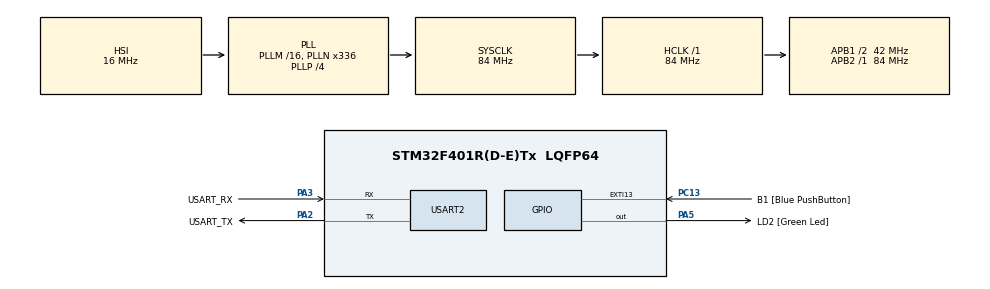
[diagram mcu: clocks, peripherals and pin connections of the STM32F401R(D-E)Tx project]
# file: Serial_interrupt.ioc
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Mcu.Family=STM32F4
Mcu.Name=STM32F401R(D-E)Tx
Mcu.Package=LQFP64
NVIC.PriorityGroup=NVIC_PRIORITYGROUP_4
PA13.GPIO_Label=TMS
PA13.Mode=Trace_Asynchronous_SW
PA13.Signal=SYS_JTMS-SWDIO
PA14.GPIO_Label=TCK
PA14.Mode=Trace_Asynchronous_SW
PA14.Signal=SYS_JTCK-SWCLK
PA2.GPIO_Label=USART_TX
PA2.GPIO_Mode=GPIO_MODE_AF_PP
PA2.GPIO_PuPd=GPIO_NOPULL
PA2.GPIO_Speed=GPIO_SPEED_FREQ_LOW
PA2.Mode=Asynchronous
PA2.Signal=USART2_TX
PA3.GPIO_Label=USART_RX
PA3.GPIO_Mode=GPIO_MODE_AF_PP
PA3.GPIO_PuPd=GPIO_NOPULL
PA3.GPIO_Speed=GPIO_SPEED_FREQ_LOW
PA3.Mode=Asynchronous
PA3.Signal=USART2_RX
PA5.GPIO_Label=LD2 [Green Led]
PA5.GPIO_Mode=GPIO_MODE_OUTPUT_PP
PA5.GPIO_PuPd=GPIO_NOPULL
PA5.GPIO_Speed=GPIO_SPEED_FREQ_LOW
PA5.Signal=GPIO_Output
PB3.GPIO_Label=SWO
PB3.Mode=Trace_Asynchronous_SW
PB3.Signal=SYS_JTDO-SWO
PC13-ANTI_TAMP.GPIO_Label=B1 [Blue PushButton]
PC13-ANTI_TAMP.GPIO_ModeDefaultEXTI=GPIO_MODE_IT_FALLING
PC13-ANTI_TAMP.GPIO_PuPd=GPIO_NOPULL
PC13-ANTI_TAMP.Signal=GPXTI13
PC14-OSC32_IN.Mode=LSE-External-Oscillator
PC14-OSC32_IN.Signal=RCC_OSC32_IN
PC15-OSC32_OUT.Mode=LSE-External-Oscillator
PC15-OSC32_OUT.Signal=RCC_OSC32_OUT
PH0\ -\ OSC_IN.Mode=HSE-External-Clock-Source
PH0\ -\ OSC_IN.Signal=RCC_OSC_IN
PH1\ -\ OSC_OUT.Mode=HSE-External-Clock-Source
PH1\ -\ OSC_OUT.Signal=RCC_OSC_OUT
ProjectManager.HeapSize=0x200
ProjectManager.StackSize=0x400
ProjectManager.TargetToolchain=STM32CubeIDE
RCC.48MHZClocksFreq_Value=48000000
RCC.AHBFreq_Value=84000000
RCC.APB1CLKDivider=RCC_HCLK_DIV2
RCC.APB1Freq_Value=42000000
RCC.APB1TimFreq_Value=84000000
RCC.APB2Freq_Value=84000000
RCC.APB2TimFreq_Value=84000000
RCC.CortexFreq_Value=84000000
RCC.HCLKFreq_Value=84000000
RCC.HSE_VALUE=8000000
RCC.HSI_VALUE=16000000
RCC.PLLN=336
RCC.PLLP=RCC_PLLP_DIV4
RCC.PLLQ=7
RCC.SYSCLKFreq_VALUE=84000000
RCC.SYSCLKSource=RCC_SYSCLKSOURCE_PLLCLK
RCC.VCOOutputFreq_Value=336000000
USART2.VirtualMode=VM_ASYNC
board=NUCLEO-F401RE

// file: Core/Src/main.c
/* USER CODE BEGIN Header */
/**
  ******************************************************************************
  * @file           : main.c
  * @brief          : Main program body
  ******************************************************************************
  * @attention
  *
  * Copyright (c) 2025 STMicroelectronics.
  * All rights reserved.
  *
  * This software is licensed under terms that can be found in the LICENSE file
  * in the root directory of this software component.
  * If no LICENSE file comes with this software, it is provided AS-IS.
  *
  ******************************************************************************
  */
/* USER CODE END Header */
#include "main.h"

/* USER CODE BEGIN Includes */
#include <string.h>
/* USER CODE END Includes */

UART_HandleTypeDef huart2;

void SystemClock_Config(void);
static void MX_GPIO_Init(void);
static void MX_USART2_UART_Init(void);

/* USER CODE BEGIN 0 */
uint8_t rxChar;
char rxBuf[4];       // buffer for up to 3 chars + '\0'
uint8_t idx = 0;     // current index into rxBuf

/* This callback is called by HAL when a byte is received via interrupt */
void HAL_UART_RxCpltCallback(UART_HandleTypeDef *huart)
{
    if (huart->Instance == USART2)
    {
        // 1) Filter out CR/LF and store valid chars
        if (rxChar != '\r' && rxChar != '\n' && idx < (sizeof(rxBuf)-1))
        {
            rxBuf[idx++] = rxChar;
        }
        // 2) If we saw LF, treat as end-of-command
        if (rxChar == '\n')
        {
            rxBuf[idx] = '\0';  // null-terminate
            // 3) Compare and act
            if (strcmp(rxBuf, "ON") == 0)
            {
                HAL_GPIO_WritePin(GPIOA, GPIO_PIN_5, GPIO_PIN_SET);
            }
            else if (strcmp(rxBuf, "OFF") == 0)
            {
                HAL_GPIO_WritePin(GPIOA, GPIO_PIN_5, GPIO_PIN_RESET);
            }
            // 4) Reset buffer for next command
            idx = 0;
            memset(rxBuf, 0, sizeof(rxBuf));
        }
        // 5) Re-arm the UART receive interrupt for next byte
        HAL_UART_Receive_IT(&huart2, &rxChar, 1);
    }
}
/* USER CODE END 0 */

int main(void)
{

  /* MCU Configuration--------------------------------------------------------*/

  /* Reset of all peripherals, Initializes the Flash interface and the Systick. */
  HAL_Init();

  /* Configure the system clock */
  SystemClock_Config();

  /* Initialize all configured peripherals */
  MX_GPIO_Init();
  MX_USART2_UART_Init();
  /* USER CODE BEGIN 2 */
  // Start reception of the first byte in interrupt mode
      HAL_UART_Receive_IT(&huart2, &rxChar, 1);
  /* USER CODE END 2 */

  /* Infinite loop */
  while (1)
  {

  }
}

void SystemClock_Config(void)
{
  RCC_OscInitTypeDef RCC_OscInitStruct = {0};
  RCC_ClkInitTypeDef RCC_ClkInitStruct = {0};

  /** Configure the main internal regulator output voltage
  */
  __HAL_RCC_PWR_CLK_ENABLE();
  __HAL_PWR_VOLTAGESCALING_CONFIG(PWR_REGULATOR_VOLTAGE_SCALE2);

  /** Initializes the RCC Oscillators according to the specified parameters
  * in the RCC_OscInitTypeDef structure.
  */
  RCC_OscInitStruct.OscillatorType = RCC_OSCILLATORTYPE_HSI;
  RCC_OscInitStruct.HSIState = RCC_HSI_ON;
  RCC_OscInitStruct.HSICalibrationValue = RCC_HSICALIBRATION_DEFAULT;
  RCC_OscInitStruct.PLL.PLLState = RCC_PLL_ON;
  RCC_OscInitStruct.PLL.PLLSource = RCC_PLLSOURCE_HSI;
  RCC_OscInitStruct.PLL.PLLM = 16;
  RCC_OscInitStruct.PLL.PLLN = 336;
  RCC_OscInitStruct.PLL.PLLP = RCC_PLLP_DIV4;
  RCC_OscInitStruct.PLL.PLLQ = 7;
  if (HAL_RCC_OscConfig(&RCC_OscInitStruct) != HAL_OK)
  {
    Error_Handler();
  }

  /** Initializes the CPU, AHB and APB buses clocks
  */
  RCC_ClkInitStruct.ClockType = RCC_CLOCKTYPE_HCLK|RCC_CLOCKTYPE_SYSCLK
                              |RCC_CLOCKTYPE_PCLK1|RCC_CLOCKTYPE_PCLK2;
  RCC_ClkInitStruct.SYSCLKSource = RCC_SYSCLKSOURCE_PLLCLK;
  RCC_ClkInitStruct.AHBCLKDivider = RCC_SYSCLK_DIV1;
  RCC_ClkInitStruct.APB1CLKDivider = RCC_HCLK_DIV2;
  RCC_ClkInitStruct.APB2CLKDivider = RCC_HCLK_DIV1;

  if (HAL_RCC_ClockConfig(&RCC_ClkInitStruct, FLASH_LATENCY_2) != HAL_OK)
  {
    Error_Handler();
  }
}

static void MX_USART2_UART_Init(void)
{

  huart2.Instance = USART2;
  huart2.Init.BaudRate = 115200;
  huart2.Init.WordLength = UART_WORDLENGTH_8B;
  huart2.Init.StopBits = UART_STOPBITS_1;
  huart2.Init.Parity = UART_PARITY_NONE;
  huart2.Init.Mode = UART_MODE_TX_RX;
  huart2.Init.HwFlowCtl = UART_HWCONTROL_NONE;
  huart2.Init.OverSampling = UART_OVERSAMPLING_16;
  if (HAL_UART_Init(&huart2) != HAL_OK)
  {
    Error_Handler();
  }

}

static void MX_GPIO_Init(void)
{
  GPIO_InitTypeDef GPIO_InitStruct = {0};

  /* GPIO Ports Clock Enable */
  __HAL_RCC_GPIOC_CLK_ENABLE();
  __HAL_RCC_GPIOH_CLK_ENABLE();
  __HAL_RCC_GPIOA_CLK_ENABLE();
  __HAL_RCC_GPIOB_CLK_ENABLE();

  /*Configure GPIO pin Output Level */
  HAL_GPIO_WritePin(LD2_GPIO_Port, LD2_Pin, GPIO_PIN_RESET);

  /*Configure GPIO pin : B1_Pin */
  GPIO_InitStruct.Pin = B1_Pin;
  GPIO_InitStruct.Mode = GPIO_MODE_IT_FALLING;
  GPIO_InitStruct.Pull = GPIO_NOPULL;
  HAL_GPIO_Init(B1_GPIO_Port, &GPIO_InitStruct);

  /*Configure GPIO pin : LD2_Pin */
  GPIO_InitStruct.Pin = LD2_Pin;
  GPIO_InitStruct.Mode = GPIO_MODE_OUTPUT_PP;
  GPIO_InitStruct.Pull = GPIO_NOPULL;
  GPIO_InitStruct.Speed = GPIO_SPEED_FREQ_LOW;
  HAL_GPIO_Init(LD2_GPIO_Port, &GPIO_InitStruct);

}

void Error_Handler(void)
{
  __disable_irq();
  while (1)
  {
  }
}
